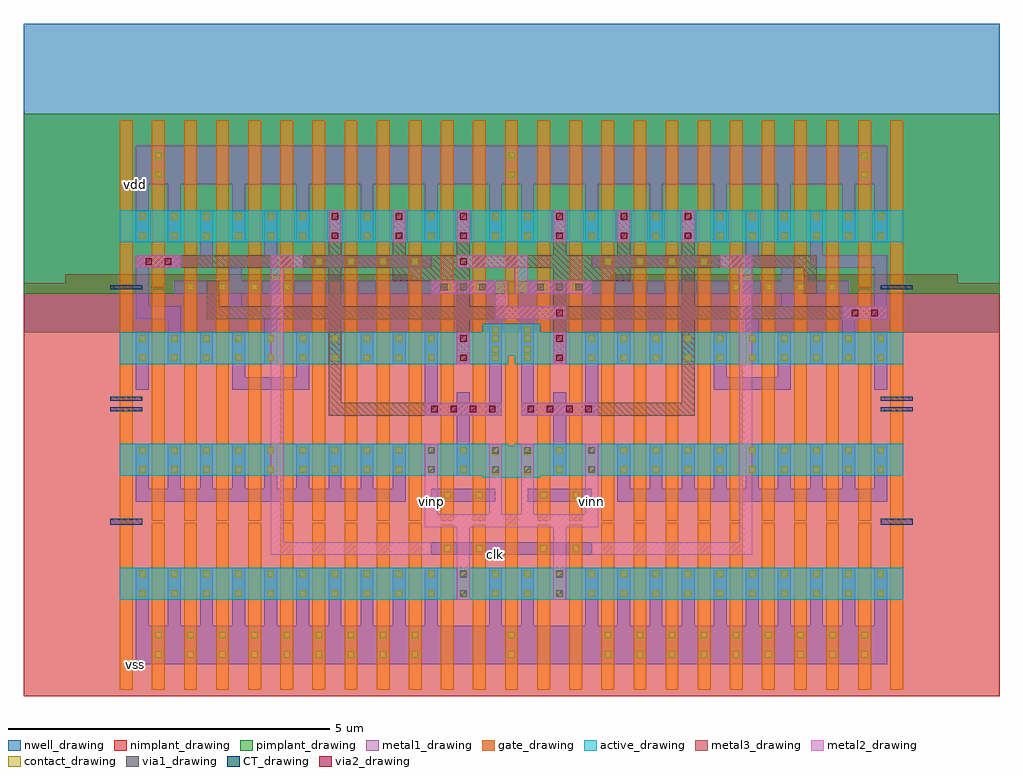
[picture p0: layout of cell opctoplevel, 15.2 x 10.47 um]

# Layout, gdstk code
import gdstk
lib = gdstk.Library(unit=1e-6, precision=1e-09)
def R(c, l, rs):  # rectangles x0, y0, x1, y1
    for r in rs: c.add(gdstk.rectangle(r[:2], r[2:], *l))
def A(c, l, x, y, w, h, nx, ny, dx, dy):  # array of equal rectangles
    R(c, l, [(x+i*dx, y+j*dy, x+i*dx+w, y+j*dy+h) for i in range(nx) for j in range(ny)])
def P(c, l, *ps):  # polygons
    for p in ps: c.add(gdstk.Polygon(p, *l))
active_drawing = (1, 0)
nwell_drawing = (3, 0)
pimplant_drawing = (4, 0)
nimplant_drawing = (5, 0)
gate_drawing = (6, 0)
contact_drawing = (7, 0)
metal1_drawing = (8, 0)
via1_drawing = (9, 0)
metal2_drawing = (10, 0)
via2_drawing = (11, 0)
metal3_drawing = (12, 0)
CT_drawing = (27, 0)

opctoplevel = lib.new_cell('opctoplevel')
A(opctoplevel, active_drawing, -4, 5.57, 1.4, 0.5, 4, 1, 1, 0)
A(opctoplevel, active_drawing, 0.5, 5.57, 1.4, 0.5, 4, 1, 1, 0)
R(opctoplevel, active_drawing, [(-5.65,0,-0.6,0.5), (-1,0,0.4,0.5), (0,0,0.9,0.5), (0,0,0.9,0.5), (0.5,0,1.9,0.5), (1.5,0,6.55,0.5), (0,1.9,0.9,2.4), (0,1.9,0.9,2.4), (-5.65,1.93,-0.6,2.43), (-1,1.93,0.4,2.43), (0.5,1.93,1.9,2.43), (1.5,1.93,6.55,2.43), (-5.65,3.67,-4.6,4.17), (-5,3.67,-4.1,4.17), (-4.5,3.67,-3.6,4.17), (-4,3.67,-2.6,4.17), (-3,3.67,-0.6,4.17), (-1,3.67,0.4,4.17), (0.5,3.67,1.9,4.17), (1.5,3.67,3.9,4.17), (3.5,3.67,4.9,4.17), (4.5,3.67,5.4,4.17), (5,3.67,5.9,4.17), (5.5,3.67,6.55,4.17), (0,3.8,0.9,4.3), (0,3.8,0.9,4.3), (-5.65,5.57,-4.6,6.07), (-5,5.57,-4.1,6.07), (-4.5,5.57,-3.6,6.07), (0,5.57,0.9,6.07), (0,5.57,0.9,6.07), (4.5,5.57,5.4,6.07), (5,5.57,5.9,6.07), (5.5,5.57,6.55,6.07)])
A(opctoplevel, nwell_drawing, -5.5, 4.17, 4.4, 4.8, 4, 1, 1, 0)
A(opctoplevel, nwell_drawing, -1, 4.17, 4.4, 4.8, 4, 1, 1, 0)
R(opctoplevel, nwell_drawing, [(-7.15,4.17,-3.1,8.97), (-6.5,4.17,-2.6,8.97), (-6,4.17,-2.1,8.97), (3,4.17,6.9,8.97), (3.5,4.17,7.4,8.97), (4,4.17,8.05,8.97), (-1.5,4.2,2.4,8.97), (-1.5,4.2,2.4,8.97)])
A(opctoplevel, pimplant_drawing, -5.5, 4.77, 4.4, 2.8, 4, 1, 1, 0)
A(opctoplevel, pimplant_drawing, -1, 4.77, 4.4, 2.8, 4, 1, 1, 0)
R(opctoplevel, pimplant_drawing, [(-7.15,4.77,-3.1,7.57), (-6.5,4.77,-2.6,7.57), (-6,4.77,-2.1,7.57), (3,4.77,6.9,7.57), (3.5,4.77,7.4,7.57), (4,4.77,8.05,7.57), (-1.5,4.8,2.4,7.57), (-1.5,4.8,2.4,7.57)])
R(opctoplevel, nimplant_drawing, [(-7.15,-1.5,0.9,1.3), (-2.5,-1.5,1.9,1.27), (-1.5,-1.5,2.4,1.3), (-1.5,-1.5,2.4,1.3), (-1,-1.5,3.4,1.27), (0,-1.5,8.05,1.3), (-1.5,1.1,2.4,3.2), (-1.5,1.1,2.4,3.2), (-7.15,1.13,0.9,3.23), (-2.5,1.13,1.9,3.2), (-1,1.13,3.4,3.2), (0,1.13,8.05,3.23), (-7.15,2.87,-3.1,4.94), (-4.5,2.87,0.9,4.97), (0,2.87,5.4,4.97), (4,2.87,8.05,4.94), (-6.5,2.9,-2.6,5.07), (-6,2.9,-2.1,5.07), (-5.5,2.9,-1.1,5.07), (-2.5,2.9,1.9,4.87), (-1,2.9,3.4,4.87), (2,2.9,6.4,5.07), (3,2.9,6.9,5.07), (3.5,2.9,7.4,5.07), (-1.5,3,2.4,4.77), (-1.5,3,2.4,4.77)])
A(opctoplevel, gate_drawing, -5.65, -1.4, 0.2, 2.6, 10, 1, 0.5, 0)
A(opctoplevel, gate_drawing, 1.85, -1.4, 0.2, 2.6, 10, 1, 0.5, 0)
A(opctoplevel, gate_drawing, -5.15, -1, 0.2, 0.6, 9, 1, 0.5, 0)
A(opctoplevel, gate_drawing, 1.85, -1, 0.2, 0.6, 9, 1, 0.5, 0)
A(opctoplevel, gate_drawing, -5.65, 1.23, 0.2, 1.9, 10, 1, 0.5, 0)
A(opctoplevel, gate_drawing, 1.85, 1.23, 0.2, 1.9, 10, 1, 0.5, 0)
A(opctoplevel, gate_drawing, -2.65, 2.97, 0.2, 1.9, 4, 1, 0.5, 0)
A(opctoplevel, gate_drawing, 1.85, 2.97, 0.2, 1.9, 4, 1, 0.5, 0)
A(opctoplevel, gate_drawing, -4.65, 3, 0.2, 1.97, 4, 1, 0.5, 0)
A(opctoplevel, gate_drawing, 3.85, 3, 0.2, 1.97, 4, 1, 0.5, 0)
A(opctoplevel, gate_drawing, -4.65, 4.77, 0.2, 0.2, 4, 1, 0.5, 0)
A(opctoplevel, gate_drawing, 3.85, 4.77, 0.2, 0.2, 4, 1, 0.5, 0)
A(opctoplevel, gate_drawing, -5.65, 4.87, 0.2, 2.6, 12, 1, 0.5, 0)
A(opctoplevel, gate_drawing, 0.85, 4.87, 0.2, 2.6, 12, 1, 0.5, 0)
A(opctoplevel, gate_drawing, -2.65, 5.17, 0.2, 0.2, 4, 1, 0.5, 0)
A(opctoplevel, gate_drawing, 1.85, 5.17, 0.2, 0.2, 4, 1, 0.5, 0)
R(opctoplevel, gate_drawing, [(-0.65,-1.4,-0.45,1.17), (-0.15,-1.4,0.05,1.17), (0.35,-1.4,0.55,1.2), (0.35,-1.4,0.55,1.2), (0.85,-1.4,1.05,1.17), (1.35,-1.4,1.55,1.17), (0.35,-1,0.55,-0.4), (0.35,-1,0.55,-0.4), (-0.65,0.7,-0.45,0.9), (-0.15,0.7,0.05,0.9), (0.85,0.7,1.05,0.9), (1.35,0.7,1.55,0.9), (0.35,1.2,0.55,3.1), (0.35,1.2,0.55,3.1), (-0.65,1.23,-0.45,3.1), (-0.15,1.23,0.05,3.1), (0.85,1.23,1.05,3.1), (1.35,1.23,1.55,3.1), (-0.65,1.53,-0.45,1.73), (-0.15,1.53,0.05,1.73), (0.85,1.53,1.05,1.73), (1.35,1.53,1.55,1.73), (-5.65,2.97,-5.45,4.84), (-5.15,2.97,-4.95,4.84), (5.85,2.97,6.05,4.84), (6.35,2.97,6.55,4.84), (-0.65,3,-0.45,4.97), (-0.15,3,0.05,4.97), (0.85,3,1.05,4.97), (1.35,3,1.55,4.97), (0.35,3.1,0.55,4.97), (0.35,3.1,0.55,4.97), (-0.65,4.77,-0.45,4.97), (-0.15,4.77,0.05,4.97), (0.85,4.77,1.05,4.97), (1.35,4.77,1.55,4.97), (0.35,4.9,0.55,7.47), (0.35,4.9,0.55,7.47), (-5.15,6.47,-4.95,7.07), (0.35,6.47,0.55,7.07), (0.35,6.47,0.55,7.07), (5.85,6.47,6.05,7.07)])
A(opctoplevel, contact_drawing, -5.1, -0.9, 0.1, 0.1, 9, 2, 0.5, 0.3)
A(opctoplevel, contact_drawing, 1.9, -0.9, 0.1, 0.1, 9, 2, 0.5, 0.3)
A(opctoplevel, contact_drawing, -5.35, 0.05, 0.1, 0.1, 10, 2, 0.5, 0.3)
A(opctoplevel, contact_drawing, -0.85, 0.05, 0.1, 0.1, 3, 2, 0.5, 0.3)
A(opctoplevel, contact_drawing, 0.65, 0.05, 0.1, 0.1, 3, 2, 0.5, 0.3)
A(opctoplevel, contact_drawing, 1.65, 0.05, 0.1, 0.1, 10, 2, 0.5, 0.3)
A(opctoplevel, contact_drawing, -5.35, 1.98, 0.1, 0.1, 10, 2, 0.5, 0.3)
A(opctoplevel, contact_drawing, -0.85, 1.98, 0.1, 0.1, 6, 2, 0.5, 0.3)
A(opctoplevel, contact_drawing, 1.65, 1.98, 0.1, 0.1, 10, 2, 0.5, 0.3)
A(opctoplevel, contact_drawing, -3.85, 3.72, 0.1, 0.1, 3, 2, 0.5, 0.3)
A(opctoplevel, contact_drawing, -2.85, 3.72, 0.1, 0.1, 5, 2, 0.5, 0.3)
A(opctoplevel, contact_drawing, -0.85, 3.72, 0.1, 0.1, 6, 2, 0.5, 0.3)
A(opctoplevel, contact_drawing, 1.65, 3.72, 0.1, 0.1, 5, 2, 0.5, 0.3)
A(opctoplevel, contact_drawing, 3.65, 3.72, 0.1, 0.1, 3, 2, 0.5, 0.3)
A(opctoplevel, contact_drawing, -4.6, 4.82, 0.1, 0.1, 4, 1, 0.5, 0)
A(opctoplevel, contact_drawing, 3.9, 4.82, 0.1, 0.1, 4, 1, 0.5, 0)
A(opctoplevel, contact_drawing, -2.6, 5.22, 0.1, 0.1, 4, 1, 0.5, 0)
A(opctoplevel, contact_drawing, 1.9, 5.22, 0.1, 0.1, 4, 1, 0.5, 0)
A(opctoplevel, contact_drawing, -3.85, 5.62, 0.1, 0.1, 3, 2, 0.5, 0.3)
A(opctoplevel, contact_drawing, -2.85, 5.62, 0.1, 0.1, 3, 2, 0.5, 0.3)
A(opctoplevel, contact_drawing, -1.85, 5.62, 0.1, 0.1, 3, 2, 0.5, 0.3)
A(opctoplevel, contact_drawing, -0.85, 5.62, 0.1, 0.1, 3, 2, 0.5, 0.3)
A(opctoplevel, contact_drawing, 0.65, 5.62, 0.1, 0.1, 3, 2, 0.5, 0.3)
A(opctoplevel, contact_drawing, 1.65, 5.62, 0.1, 0.1, 3, 2, 0.5, 0.3)
A(opctoplevel, contact_drawing, 2.65, 5.62, 0.1, 0.1, 3, 2, 0.5, 0.3)
A(opctoplevel, contact_drawing, 3.65, 5.62, 0.1, 0.1, 3, 2, 0.5, 0.3)
R(opctoplevel, contact_drawing, [(0.4,-0.9,0.5,-0.8), (0.4,-0.9,0.5,-0.8), (0.4,-0.6,0.5,-0.5), (0.4,-0.6,0.5,-0.5), (0.15,0.05,0.25,0.15), (0.15,0.05,0.25,0.15), (0.65,0.05,0.75,0.15), (0.65,0.05,0.75,0.15), (0.15,0.35,0.25,0.45), (0.15,0.35,0.25,0.45), (0.65,0.35,0.75,0.45), (0.65,0.35,0.75,0.45), (-0.6,0.75,-0.5,0.85), (-0.1,0.75,0,0.85), (0.9,0.75,1,0.85), (1.4,0.75,1.5,0.85), (-0.6,1.58,-0.5,1.68), (-0.1,1.58,0,1.68), (0.9,1.58,1,1.68), (1.4,1.58,1.5,1.68), (0.15,1.95,0.25,2.05), (0.15,1.95,0.25,2.05), (0.65,1.95,0.75,2.05), (0.65,1.95,0.75,2.05), (0.15,2.25,0.25,2.35), (0.15,2.25,0.25,2.35), (0.65,2.25,0.75,2.35), (0.65,2.25,0.75,2.35), (-5.35,3.72,-5.25,3.82), (-4.85,3.72,-4.75,3.82), (-4.85,3.72,-4.75,3.82), (-4.35,3.72,-4.25,3.82), (-4.35,3.72,-4.25,3.82), (-3.85,3.72,-3.75,3.82), (4.65,3.72,4.75,3.82), (5.15,3.72,5.25,3.82), (5.15,3.72,5.25,3.82), (5.65,3.72,5.75,3.82), (5.65,3.72,5.75,3.82), (6.15,3.72,6.25,3.82), (0.15,3.85,0.25,3.95), (0.15,3.85,0.25,3.95), (0.65,3.85,0.75,3.95), (0.65,3.85,0.75,3.95), (-5.35,4.02,-5.25,4.12), (-4.85,4.02,-4.75,4.12), (-4.85,4.02,-4.75,4.12), (-4.35,4.02,-4.25,4.12), (-4.35,4.02,-4.25,4.12), (-3.85,4.02,-3.75,4.12), (4.65,4.02,4.75,4.12), (5.15,4.02,5.25,4.12), (5.15,4.02,5.25,4.12), (5.65,4.02,5.75,4.12), (5.65,4.02,5.75,4.12), (6.15,4.02,6.25,4.12), (0.15,4.15,0.25,4.25), (0.15,4.15,0.25,4.25), (0.65,4.15,0.75,4.25), (0.65,4.15,0.75,4.25), (-0.6,4.82,-0.5,4.92), (-0.1,4.82,0,4.92), (0.9,4.82,1,4.92), (1.4,4.82,1.5,4.92), (-5.35,5.62,-5.25,5.72), (-4.85,5.62,-4.75,5.72), (-4.85,5.62,-4.75,5.72), (-4.35,5.62,-4.25,5.72), (-4.35,5.62,-4.25,5.72), (-3.85,5.62,-3.75,5.72), (0.15,5.62,0.25,5.72), (0.15,5.62,0.25,5.72), (0.65,5.62,0.75,5.72), (0.65,5.62,0.75,5.72), (4.65,5.62,4.75,5.72), (5.15,5.62,5.25,5.72), (5.15,5.62,5.25,5.72), (5.65,5.62,5.75,5.72), (5.65,5.62,5.75,5.72), (6.15,5.62,6.25,5.72), (-5.35,5.92,-5.25,6.02), (-4.85,5.92,-4.75,6.02), (-4.85,5.92,-4.75,6.02), (-4.35,5.92,-4.25,6.02), (-4.35,5.92,-4.25,6.02), (-3.85,5.92,-3.75,6.02), (0.15,5.92,0.25,6.02), (0.15,5.92,0.25,6.02), (0.65,5.92,0.75,6.02), (0.65,5.92,0.75,6.02), (4.65,5.92,4.75,6.02), (5.15,5.92,5.25,6.02), (5.15,5.92,5.25,6.02), (5.65,5.92,5.75,6.02), (5.65,5.92,5.75,6.02), (6.15,5.92,6.25,6.02), (-5.1,6.57,-5,6.67), (0.4,6.57,0.5,6.67), (0.4,6.57,0.5,6.67), (5.9,6.57,6,6.67), (-5.1,6.87,-5,6.97), (0.4,6.87,0.5,6.97), (0.4,6.87,0.5,6.97), (5.9,6.87,6,6.97)])
A(opctoplevel, metal1_drawing, -5.15, -1, 0.2, 0.6, 9, 1, 0.5, 0)
A(opctoplevel, metal1_drawing, 1.85, -1, 0.2, 0.6, 9, 1, 0.5, 0)
A(opctoplevel, metal1_drawing, -5.4, -0.4, 0.2, 0.4, 10, 1, 0.5, 0)
A(opctoplevel, metal1_drawing, 1.6, -0.4, 0.2, 0.4, 10, 1, 0.5, 0)
A(opctoplevel, metal1_drawing, -5.4, 0, 0.2, 0.5, 10, 2, 0.5, 1.93)
A(opctoplevel, metal1_drawing, -0.9, 0, 0.2, 0.5, 3, 2, 0.5, 5.57)
A(opctoplevel, metal1_drawing, 0.6, 0, 0.2, 0.5, 3, 2, 0.5, 5.57)
A(opctoplevel, metal1_drawing, 1.6, 0, 0.2, 0.5, 10, 2, 0.5, 1.93)
A(opctoplevel, metal1_drawing, -5.4, 1.73, 0.2, 0.2, 9, 1, 0.5, 0)
A(opctoplevel, metal1_drawing, 2.1, 1.73, 0.2, 0.2, 9, 1, 0.5, 0)
A(opctoplevel, metal1_drawing, -0.9, 1.93, 0.2, 0.5, 6, 2, 0.5, 1.74)
A(opctoplevel, metal1_drawing, -3.9, 3.67, 0.2, 0.5, 3, 2, 0.5, 1.9)
A(opctoplevel, metal1_drawing, -2.9, 3.67, 0.2, 0.5, 5, 1, 0.5, 0)
A(opctoplevel, metal1_drawing, 1.6, 3.67, 0.2, 0.5, 5, 1, 0.5, 0)
A(opctoplevel, metal1_drawing, 3.6, 3.67, 0.2, 0.5, 3, 2, 0.5, 1.9)
A(opctoplevel, metal1_drawing, -4.65, 4.77, 0.2, 0.2, 4, 1, 0.5, 0)
A(opctoplevel, metal1_drawing, 3.85, 4.77, 0.2, 0.2, 4, 1, 0.5, 0)
A(opctoplevel, metal1_drawing, -2.65, 5.17, 0.2, 0.2, 4, 1, 0.5, 0)
A(opctoplevel, metal1_drawing, 1.85, 5.17, 0.2, 0.2, 4, 1, 0.5, 0)
A(opctoplevel, metal1_drawing, -2.9, 5.57, 0.2, 0.5, 3, 1, 0.5, 0)
A(opctoplevel, metal1_drawing, -1.9, 5.57, 0.2, 0.5, 3, 1, 0.5, 0)
A(opctoplevel, metal1_drawing, 1.6, 5.57, 0.2, 0.5, 3, 1, 0.5, 0)
A(opctoplevel, metal1_drawing, 2.6, 5.57, 0.2, 0.5, 3, 1, 0.5, 0)
A(opctoplevel, metal1_drawing, -4.9, 6.07, 0.2, 0.4, 3, 1, 1, 0)
A(opctoplevel, metal1_drawing, 3.6, 6.07, 0.2, 0.4, 3, 1, 1, 0)
A(opctoplevel, metal1_drawing, -3.9, 6.47, 1.2, 0.6, 4, 1, 1, 0)
A(opctoplevel, metal1_drawing, 0.6, 6.47, 1.2, 0.6, 4, 1, 1, 0)
R(opctoplevel, metal1_drawing, [(-5.4,-1,-0.7,-0.4), (-5.3,-1,-0.8,-0.4), (-4.9,-1,-0.2,-0.4), (-0.9,-1,0.3,-0.4), (0.1,-1,0.3,-0.4), (0.1,-1,0.3,-0.4), (0.3,-1,0.6,-0.4), (0.3,-1,0.6,-0.4), (0.35,-1,0.55,-0.4), (0.35,-1,0.55,-0.4), (0.6,-1,0.8,-0.4), (0.6,-1,0.8,-0.4), (0.6,-1,1.8,-0.4), (1.1,-1,5.8,-0.4), (1.6,-1,6.3,-0.4), (1.7,-1,6.2,-0.4), (-0.9,-0.4,-0.7,0), (0.1,-0.4,0.3,0), (0.1,-0.4,0.3,0), (0.1,-0.4,0.3,0), (0.6,-0.4,0.8,0), (0.6,-0.4,0.8,0), (0.6,-0.4,0.8,0), (1.6,-0.4,1.8,0), (0.1,0,0.3,0.5), (0.1,0,0.3,0.5), (0.6,0,0.8,0.5), (0.6,0,0.8,0.5), (-0.8,0.7,0.2,0.9), (-0.65,0.7,-0.45,0.9), (-0.15,0.7,0.05,0.9), (0.2,0.7,0.7,0.9), (0.7,0.7,1.7,0.9), (0.85,0.7,1.05,0.9), (1.35,0.7,1.55,0.9), (-5.4,1.53,-1.2,1.73), (-0.8,1.53,0.2,1.73), (-0.65,1.53,-0.45,1.73), (-0.15,1.53,0.05,1.73), (0.7,1.53,1.7,1.73), (0.85,1.53,1.05,1.73), (1.35,1.53,1.55,1.73), (2.1,1.53,6.3,1.73), (0.1,1.9,0.3,2.4), (0.1,1.9,0.3,2.4), (0.6,1.9,0.8,2.4), (0.6,1.9,0.8,2.4), (-0.4,2.43,-0.2,3.03), (1.1,2.43,1.3,3.03), (-0.9,2.87,0.3,3.07), (-0.9,2.87,0.3,3.07), (0.6,2.87,1.8,3.07), (0.6,2.87,1.8,3.07), (-0.4,3.03,-0.2,3.23), (1.1,3.03,1.3,3.23), (-0.9,3.07,-0.7,3.67), (0.1,3.07,0.3,3.67), (0.6,3.07,0.8,3.67), (1.6,3.07,1.8,3.67), (-5.4,3.27,-5.2,3.47), (-3.9,3.27,-2.7,3.47), (3.6,3.27,4.8,3.47), (6.1,3.27,6.3,3.47), (-5.4,3.47,-5.2,3.67), (-3.9,3.47,-3.7,3.67), (-2.9,3.47,-2.7,3.67), (3.6,3.47,3.8,3.67), (4.6,3.47,4.8,3.67), (6.1,3.47,6.3,3.67), (-5.4,3.67,-5.2,4.17), (-4.9,3.67,-4.7,4.17), (-4.9,3.67,-4.7,4.17), (-4.4,3.67,-4.2,4.17), (-4.4,3.67,-4.2,4.17), (-3.9,3.67,-3.7,4.17), (4.6,3.67,4.8,4.17), (5.1,3.67,5.3,4.17), (5.1,3.67,5.3,4.17), (5.6,3.67,5.8,4.17), (5.6,3.67,5.8,4.17), (6.1,3.67,6.3,4.17), (0.1,3.8,0.3,4.3), (0.1,3.8,0.3,4.3), (0.6,3.8,0.8,4.3), (0.6,3.8,0.8,4.3), (-4.9,4.17,-4.7,4.37), (-3.4,4.17,-3.2,4.37), (4.1,4.17,4.3,4.37), (5.6,4.17,5.8,4.37), (-5.4,4.37,-4.7,4.57), (-5.4,4.37,-5.2,5.37), (-3.4,4.37,-3.2,4.57), (4.1,4.37,4.3,4.57), (5.6,4.37,6.3,4.57), (5.6,4.37,6.3,4.57), (6.1,4.37,6.3,5.37), (-4.8,4.77,-4.3,4.97), (-4.3,4.77,-3.8,4.97), (-3.8,4.77,-2.8,4.97), (-2.8,4.77,-0.8,4.97), (-0.8,4.77,0.2,4.97), (-0.8,4.77,0.2,4.97), (-0.65,4.77,-0.45,4.97), (-0.15,4.77,0.05,4.97), (0.7,4.77,1.7,4.97), (0.7,4.77,1.7,4.97), (0.85,4.77,1.05,4.97), (1.35,4.77,1.55,4.97), (1.7,4.77,3.7,4.97), (3.7,4.77,4.7,4.97), (4.7,4.77,5.2,4.97), (5.2,4.77,5.7,4.97), (-5.4,5.17,-4.2,5.37), (-5.4,5.17,-4.7,5.37), (-3.4,5.17,-3.2,5.37), (-2.8,5.17,-1.8,5.37), (-2.8,5.17,-0.8,5.37), (-1.8,5.17,-0.8,5.37), (1.7,5.17,2.7,5.37), (1.7,5.17,3.7,5.37), (2.7,5.17,3.7,5.37), (4.1,5.17,4.3,5.37), (5.1,5.17,6.3,5.37), (-4.4,5.37,-4.2,5.57), (-3.4,5.37,-3.2,5.57), (4.1,5.37,4.3,5.57), (5.1,5.37,5.3,5.57), (-5.4,5.57,-5.2,6.07), (-4.9,5.57,-4.7,6.07), (-4.9,5.57,-4.7,6.07), (-4.4,5.57,-4.2,6.07), (-4.4,5.57,-4.2,6.07), (-3.9,5.57,-3.7,6.07), (0.1,5.57,0.3,6.07), (0.1,5.57,0.3,6.07), (0.6,5.57,0.8,6.07), (0.6,5.57,0.8,6.07), (4.6,5.57,4.8,6.07), (5.1,5.57,5.3,6.07), (5.1,5.57,5.3,6.07), (5.6,5.57,5.8,6.07), (5.6,5.57,5.8,6.07), (6.1,5.57,6.3,6.07), (-5.4,6.07,-5.2,6.47), (-2.9,6.07,-2.7,6.47), (-1.9,6.07,-1.7,6.47), (-1.9,6.07,-1.7,6.47), (-0.9,6.07,-0.7,6.47), (-0.9,6.07,-0.7,6.47), (0.1,6.07,0.3,6.47), (0.1,6.07,0.3,6.47), (0.1,6.07,0.3,6.47), (0.6,6.07,0.8,6.47), (0.6,6.07,0.8,6.47), (0.6,6.07,0.8,6.47), (1.6,6.07,1.8,6.47), (1.6,6.07,1.8,6.47), (2.6,6.07,2.8,6.47), (2.6,6.07,2.8,6.47), (3.6,6.07,3.8,6.47), (6.1,6.07,6.3,6.47), (-5.4,6.47,-4.7,7.07), (-5.3,6.47,-4.8,7.07), (-5.15,6.47,-4.95,7.07), (-4.9,6.47,-3.9,7.07), (0.1,6.47,0.3,7.07), (0.1,6.47,0.8,7.07), (0.1,6.47,0.8,7.07), (0.2,6.47,0.7,7.07), (0.2,6.47,0.7,7.07), (0.35,6.47,0.55,7.07), (0.35,6.47,0.55,7.07), (0.6,6.47,0.8,7.07), (4.8,6.47,5.8,7.07), (5.6,6.47,6.3,7.07), (5.7,6.47,6.2,7.07), (5.85,6.47,6.05,7.07)])
P(opctoplevel, metal1_drawing, [(-3.4,5.37),(-3.95,5.37),(-3.95,4.37),(-3.4,4.37),(-3.4,4.57),(-3.75,4.57),(-3.75,5.17),(-3.4,5.17)],
  [(4.3,5.37),(4.85,5.37),(4.85,4.37),(4.3,4.37),(4.3,4.57),(4.65,4.57),(4.65,5.17),(4.3,5.17)])
A(opctoplevel, via1_drawing, -0.8, 2.92, 0.1, 0.1, 4, 1, 0.3, 0)
A(opctoplevel, via1_drawing, 0.7, 2.92, 0.1, 0.1, 4, 1, 0.3, 0)
A(opctoplevel, via1_drawing, -0.65, 4.82, 0.1, 0.1, 3, 1, 0.3, 0)
A(opctoplevel, via1_drawing, 0.85, 4.82, 0.1, 0.1, 3, 1, 0.3, 0)
A(opctoplevel, via1_drawing, -2.35, 5.62, 0.1, 0.1, 3, 2, 1, 0.3)
A(opctoplevel, via1_drawing, 1.15, 5.62, 0.1, 0.1, 3, 2, 1, 0.3)
R(opctoplevel, via1_drawing, [(-0.35,0.05,-0.25,0.15), (1.15,0.05,1.25,0.15), (-0.35,0.35,-0.25,0.45), (1.15,0.35,1.25,0.45), (-0.85,1.98,-0.75,2.08), (0.15,1.98,0.25,2.08), (0.65,1.98,0.75,2.08), (1.65,1.98,1.75,2.08), (-0.85,2.28,-0.75,2.38), (0.15,2.28,0.25,2.38), (0.65,2.28,0.75,2.38), (1.65,2.28,1.75,2.38), (-0.35,3.72,-0.25,3.82), (1.15,3.72,1.25,3.82), (-0.35,4.02,-0.25,4.12), (1.15,4.02,1.25,4.12), (5.75,4.42,5.85,4.52), (6.05,4.42,6.15,4.52), (-5.25,5.22,-5.15,5.32), (-4.95,5.22,-4.85,5.32)])
A(opctoplevel, metal2_drawing, -2.4, 5.57, 0.2, 0.5, 3, 1, 1, 0)
A(opctoplevel, metal2_drawing, 1.1, 5.57, 0.2, 0.5, 3, 1, 1, 0)
R(opctoplevel, metal2_drawing, [(-0.4,0,-0.2,0.5), (1.1,0,1.3,0.5), (-0.4,0.5,-0.2,1.1), (1.1,0.5,1.3,1.1), (-0.4,1.1,-0.2,1.3), (1.1,1.1,1.3,1.3), (-0.9,1.13,0.3,1.33), (0.3,1.13,0.6,1.33), (0.6,1.13,1.8,1.33), (-0.9,1.33,-0.7,1.93), (0.1,1.33,0.3,1.93), (0.6,1.33,0.8,1.93), (1.6,1.33,1.8,1.93), (-0.9,1.93,-0.7,2.43), (0.1,1.93,0.3,2.43), (0.6,1.93,0.8,2.43), (1.6,1.93,1.8,2.43), (-0.9,2.87,0.3,3.07), (0.6,2.87,1.8,3.07), (-0.4,3.67,-0.2,4.17), (1.1,3.67,1.3,4.17), (1.1,4.37,1.3,4.57), (5.6,4.37,6.3,4.57), (-0.8,4.77,0.2,4.97), (0.7,4.77,1.7,4.97), (-5.4,5.17,-4.7,5.37), (-0.4,5.17,-0.2,5.37)])
P(opctoplevel, metal2_drawing, [(-2.8,5.37),(-3.3,5.37),(-3.3,0.7),(-0.8,0.7),(-0.8,0.9),(-3.1,0.9),(-3.1,5.17),(-2.8,5.17)],
  [(3.7,5.37),(4.2,5.37),(4.2,0.7),(1.7,0.7),(1.7,0.9),(4,0.9),(4,5.17),(3.7,5.17)],
  [(0.2,4.37),(1.1,4.37),(1.1,4.57),(0.4,4.57),(0.4,4.97),(0.2,4.97)],
  [(0.7,5.37),(-0.2,5.37),(-0.2,5.17),(0.5,5.17),(0.5,4.77),(0.7,4.77)])
A(opctoplevel, via2_drawing, -0.8, 2.92, 0.1, 0.1, 4, 1, 0.3, 0)
A(opctoplevel, via2_drawing, 0.7, 2.92, 0.1, 0.1, 4, 1, 0.3, 0)
A(opctoplevel, via2_drawing, -2.35, 5.62, 0.1, 0.1, 3, 2, 1, 0.3)
A(opctoplevel, via2_drawing, 1.15, 5.62, 0.1, 0.1, 3, 2, 1, 0.3)
R(opctoplevel, via2_drawing, [(-0.35,3.72,-0.25,3.82), (1.15,3.72,1.25,3.82), (-0.35,4.02,-0.25,4.12), (1.15,4.02,1.25,4.12), (1.15,4.42,1.25,4.52), (5.75,4.42,5.85,4.52), (6.05,4.42,6.15,4.52), (-5.25,5.22,-5.15,5.32), (-4.95,5.22,-4.85,5.32), (-0.35,5.22,-0.25,5.32)])
A(opctoplevel, metal3_drawing, -2.4, 5.57, 0.2, 0.5, 3, 1, 1, 0)
A(opctoplevel, metal3_drawing, 1.1, 5.57, 0.2, 0.5, 3, 1, 1, 0)
R(opctoplevel, metal3_drawing, [(-0.9,2.87,0.3,3.07), (0.6,2.87,1.8,3.07), (-0.4,3.67,-0.2,4.17), (1.1,3.67,1.3,4.17), (-0.4,4.17,-0.2,4.37), (-0.4,4.17,-0.2,5.57), (1.1,4.17,1.3,4.37), (1.1,4.17,1.3,5.57), (-0.4,4.37,-0.2,4.57), (1.1,4.37,1.3,4.57), (1.1,4.37,1.3,4.57), (5.6,4.37,6.3,4.57), (-2.4,4.97,-2.2,5.17), (-1.4,4.97,-1.2,5.17), (-1.2,4.97,-0.4,5.37), (1.3,4.97,2.1,5.37), (2.1,4.97,2.3,5.17), (3.1,4.97,3.3,5.17), (-5.4,5.17,-4.7,5.37), (-2.4,5.17,-2.2,5.57), (-1.4,5.17,-1.2,5.57), (-0.4,5.17,-0.2,5.37), (-0.4,5.17,-0.2,5.37), (1.1,5.17,1.3,5.37), (2.1,5.17,2.3,5.57), (3.1,5.17,3.3,5.57), (-0.4,5.37,-0.2,5.57), (1.1,5.37,1.3,5.57)])
P(opctoplevel, metal3_drawing, [(-0.9,3.07),(-2.2,3.07),(-2.2,4.97),(-2.4,4.97),(-2.4,2.87),(-0.9,2.87)],
  [(1.8,3.07),(3.1,3.07),(3.1,4.97),(3.3,4.97),(3.3,2.87),(1.8,2.87)],
  [(-4.7,5.17),(5,5.17),(5,4.77),(5.2,4.77),(5.2,5.37),(-4.7,5.37)],
  [(5.6,4.57),(-4.1,4.57),(-4.1,4.97),(-4.3,4.97),(-4.3,4.37),(5.6,4.37)])
R(opctoplevel, CT_drawing, [(-5.8,1.17,-5.3,1.23), (6.2,1.17,6.7,1.23), (-5.8,1.2,-5.3,1.26), (6.2,1.2,6.7,1.26), (-5.8,2.94,-5.3,3), (6.2,2.94,6.7,3), (-5.8,3.1,-5.3,3.16), (6.2,3.1,6.7,3.16), (-5.8,4.84,-5.3,4.9), (-5.8,4.84,-5.3,4.9), (6.2,4.84,6.7,4.9), (6.2,4.84,6.7,4.9)])
opctoplevel.add(gdstk.Label('clk', (0.2,0.7), layer=8, texttype=1))
opctoplevel.add(gdstk.Label('vinp', (-0.8,1.53), layer=8, texttype=1))
opctoplevel.add(gdstk.Label('vinn', (1.7,1.53), layer=8, texttype=1))
opctoplevel.add(gdstk.Label('vss', (-5.4,-1), layer=8, texttype=1))
opctoplevel.add(gdstk.Label('vdd', (-5.4,6.47), layer=8, texttype=1))

lib.write_gds('opctoplevel.gds')
